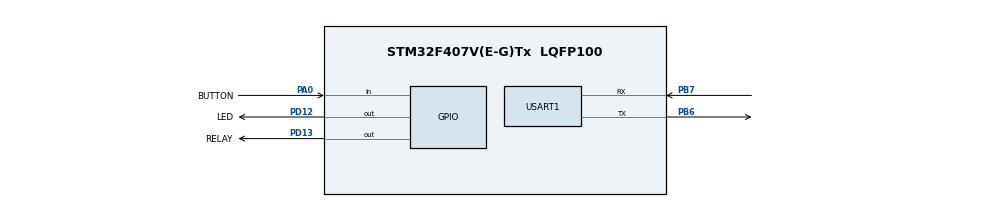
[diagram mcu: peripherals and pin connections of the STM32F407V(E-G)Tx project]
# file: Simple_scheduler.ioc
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Mcu.Family=STM32F4
Mcu.Name=STM32F407V(E-G)Tx
Mcu.Package=LQFP100
NVIC.PriorityGroup=NVIC_PRIORITYGROUP_4
NVIC.USART1_IRQn=true\:0\:0\:false\:false\:true\:true\:true\:true
PA0-WKUP.GPIO_Label=BUTTON
PA0-WKUP.Signal=GPIO_Input
PB6.Mode=Asynchronous
PB6.Signal=USART1_TX
PB7.Mode=Asynchronous
PB7.Signal=USART1_RX
PD12.GPIO_Label=LED
PD12.Signal=GPIO_Output
PD13.GPIO_Label=RELAY
PD13.Signal=GPIO_Output
ProjectManager.HeapSize=0x200
ProjectManager.StackSize=0x400
ProjectManager.TargetToolchain=STM32CubeIDE
RCC.AHBFreq_Value=16000000
RCC.APB1Freq_Value=16000000
RCC.APB2Freq_Value=16000000
RCC.CortexFreq_Value=16000000
RCC.HSE_VALUE=25000000
RCC.HSI_VALUE=16000000
RCC.LSE_VALUE=32768
RCC.SYSCLKFreq_VALUE=16000000
RCC.VCOOutputFreq_Value=192000000
USART1.VirtualMode=VM_ASYNC
board=custom

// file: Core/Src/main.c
/* USER CODE BEGIN Header */
/**
  ******************************************************************************
  * @file           : main.c
  * @brief          : Main program body
  ******************************************************************************
  * @attention
  *
  * Copyright (c) 2024 STMicroelectronics.
  * All rights reserved.
  *
  * This software is licensed under terms that can be found in the LICENSE file
  * in the root directory of this software component.
  * If no LICENSE file comes with this software, it is provided AS-IS.
  *
  ******************************************************************************
  */
/* USER CODE END Header */
#include "main.h"

/* USER CODE BEGIN Includes */
#include 	"uartstdio.h"
#include 	"debug.h"
#include 	"heater.h"
#include	"scheduler.h"
#include 	"led.h"
/* USER CODE END Includes */

/* USER CODE BEGIN PV */
	tSchedulerTask 	g_psSchedulerTable[2] =
						{
							{
									&heater_task,
									(void *) 0,
									10,			//call every 10ms
									0,			//count from start
									true		//is active
							},
							{
									&led_task,
									(void *) 0,
									500,
									0,
									true
							}
						};
	uint32_t 		g_ui32SchedulerNumTasks = 2;
/* USER CODE END PV */

void SystemClock_Config(void);
static void MX_GPIO_Init(void);
static void MX_USART1_UART_Init(void);

int main(void)
{

  /* MCU Configuration--------------------------------------------------------*/

  /* Reset of all peripherals, Initializes the Flash interface and the Systick. */
  LL_APB2_GRP1_EnableClock(LL_APB2_GRP1_PERIPH_SYSCFG);
  LL_APB1_GRP1_EnableClock(LL_APB1_GRP1_PERIPH_PWR);

  /* System interrupt init*/
  NVIC_SetPriorityGrouping(NVIC_PRIORITYGROUP_4);

  /* SysTick_IRQn interrupt configuration */
  NVIC_SetPriority(SysTick_IRQn, NVIC_EncodePriority(NVIC_GetPriorityGrouping(),15, 0));

  /* Configure the system clock */
  SystemClock_Config();

  /* USER CODE BEGIN SysInit */
///	LL_SYSTICK_EnableIT();
  /* USER CODE END SysInit */

  /* Initialize all configured peripherals */
  MX_GPIO_Init();
  MX_USART1_UART_Init();
  /* USER CODE BEGIN 2 */
  UARTStdioConfig(USART1,USART1_IRQn, true);
  heater_init_state();
  SchedulerInit(1000);
  /* USER CODE END 2 */

  /* Infinite loop */
  /* USER CODE BEGIN WHILE */

  while (1)
  {
	  SchedulerRun();
    /* USER CODE END WHILE */

  }
}

void SystemClock_Config(void)
{
  LL_FLASH_SetLatency(LL_FLASH_LATENCY_0);
  while(LL_FLASH_GetLatency()!= LL_FLASH_LATENCY_0)
  {
  }
  LL_PWR_SetRegulVoltageScaling(LL_PWR_REGU_VOLTAGE_SCALE1);
  LL_RCC_HSI_SetCalibTrimming(16);
  LL_RCC_HSI_Enable();

   /* Wait till HSI is ready */
  while(LL_RCC_HSI_IsReady() != 1)
  {

  }
  LL_RCC_SetAHBPrescaler(LL_RCC_SYSCLK_DIV_1);
  LL_RCC_SetAPB1Prescaler(LL_RCC_APB1_DIV_1);
  LL_RCC_SetAPB2Prescaler(LL_RCC_APB2_DIV_1);
  LL_RCC_SetSysClkSource(LL_RCC_SYS_CLKSOURCE_HSI);

   /* Wait till System clock is ready */
  while(LL_RCC_GetSysClkSource() != LL_RCC_SYS_CLKSOURCE_STATUS_HSI)
  {

  }
  LL_Init1msTick(16000000);
  LL_SetSystemCoreClock(16000000);
}

static void MX_USART1_UART_Init(void)
{

  LL_USART_InitTypeDef USART_InitStruct = {0};

  LL_GPIO_InitTypeDef GPIO_InitStruct = {0};

  /* Peripheral clock enable */
  LL_APB2_GRP1_EnableClock(LL_APB2_GRP1_PERIPH_USART1);

  LL_AHB1_GRP1_EnableClock(LL_AHB1_GRP1_PERIPH_GPIOB);
  /**USART1 GPIO Configuration
  PB6   ------> USART1_TX
  PB7   ------> USART1_RX
  */
  GPIO_InitStruct.Pin = LL_GPIO_PIN_6|LL_GPIO_PIN_7;
  GPIO_InitStruct.Mode = LL_GPIO_MODE_ALTERNATE;
  GPIO_InitStruct.Speed = LL_GPIO_SPEED_FREQ_VERY_HIGH;
  GPIO_InitStruct.OutputType = LL_GPIO_OUTPUT_PUSHPULL;
  GPIO_InitStruct.Pull = LL_GPIO_PULL_NO;
  GPIO_InitStruct.Alternate = LL_GPIO_AF_7;
  LL_GPIO_Init(GPIOB, &GPIO_InitStruct);

  /* USART1 interrupt Init */
  NVIC_SetPriority(USART1_IRQn, NVIC_EncodePriority(NVIC_GetPriorityGrouping(),0, 0));
  NVIC_EnableIRQ(USART1_IRQn);

  USART_InitStruct.BaudRate = 115200;
  USART_InitStruct.DataWidth = LL_USART_DATAWIDTH_8B;
  USART_InitStruct.StopBits = LL_USART_STOPBITS_1;
  USART_InitStruct.Parity = LL_USART_PARITY_NONE;
  USART_InitStruct.TransferDirection = LL_USART_DIRECTION_TX_RX;
  USART_InitStruct.HardwareFlowControl = LL_USART_HWCONTROL_NONE;
  USART_InitStruct.OverSampling = LL_USART_OVERSAMPLING_16;
  LL_USART_Init(USART1, &USART_InitStruct);
  LL_USART_ConfigAsyncMode(USART1);
  LL_USART_Enable(USART1);

}

static void MX_GPIO_Init(void)
{
  LL_GPIO_InitTypeDef GPIO_InitStruct = {0};

  /* GPIO Ports Clock Enable */
  LL_AHB1_GRP1_EnableClock(LL_AHB1_GRP1_PERIPH_GPIOA);
  LL_AHB1_GRP1_EnableClock(LL_AHB1_GRP1_PERIPH_GPIOD);
  LL_AHB1_GRP1_EnableClock(LL_AHB1_GRP1_PERIPH_GPIOB);

  /**/
  LL_GPIO_ResetOutputPin(GPIOD, LED_Pin|RELAY_Pin);

  /**/
  GPIO_InitStruct.Pin = BUTTON_Pin;
  GPIO_InitStruct.Mode = LL_GPIO_MODE_INPUT;
  GPIO_InitStruct.Pull = LL_GPIO_PULL_NO;
  LL_GPIO_Init(BUTTON_GPIO_Port, &GPIO_InitStruct);

  /**/
  GPIO_InitStruct.Pin = LED_Pin|RELAY_Pin;
  GPIO_InitStruct.Mode = LL_GPIO_MODE_OUTPUT;
  GPIO_InitStruct.Speed = LL_GPIO_SPEED_FREQ_LOW;
  GPIO_InitStruct.OutputType = LL_GPIO_OUTPUT_PUSHPULL;
  GPIO_InitStruct.Pull = LL_GPIO_PULL_NO;
  LL_GPIO_Init(GPIOD, &GPIO_InitStruct);

}

void Error_Handler(void)
{
  __disable_irq();
  while (1)
  {
  }
}
